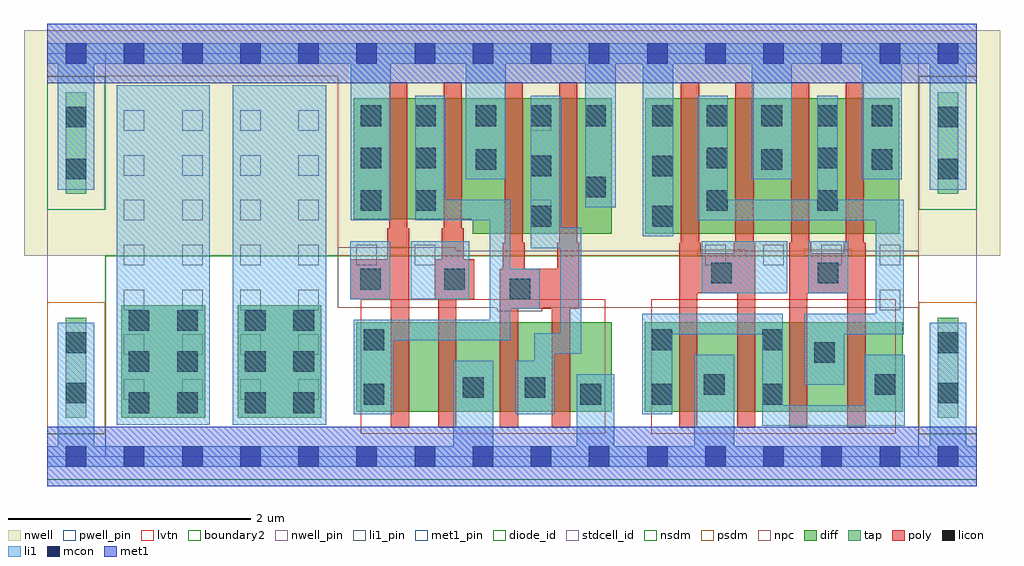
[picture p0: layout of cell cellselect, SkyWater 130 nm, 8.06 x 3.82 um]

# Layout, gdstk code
import gdstk
lib = gdstk.Library(unit=1e-6, precision=1e-09)
def R(c, l, rs):  # rectangles x0, y0, x1, y1
    for r in rs: c.add(gdstk.rectangle(r[:2], r[2:], *l))
def A(c, l, x, y, w, h, nx, ny, dx, dy):  # array of equal rectangles
    R(c, l, [(x+i*dx, y+j*dy, x+i*dx+w, y+j*dy+h) for i in range(nx) for j in range(ny)])
def P(c, l, *ps):  # polygons
    for p in ps: c.add(gdstk.Polygon(p, *l))
nwell_pin = (64, 16)
nwell = (64, 20)
diff = (65, 20)
tap = (65, 44)
poly = (66, 20)
licon = (66, 44)
li1_pin = (67, 16)
li1 = (67, 20)
mcon = (67, 44)
met1_pin = (68, 16)
met1 = (68, 20)
stdcell_id = (81, 4)
diode_id = (81, 23)
nsdm = (93, 44)
psdm = (94, 20)
npc = (95, 20)
pwell_pin = (122, 16)
lvtn = (125, 44)
boundary2 = (236, 0)

sky130_fd_sc_hs__tapvpwr = lib.new_cell('sky130_fd_sc_hs__tapvpwrvgnd_1')
R(sky130_fd_sc_hs__tapvpwr, nwell, [(-0.19,1.66,0.67,3.52)])
R(sky130_fd_sc_hs__tapvpwr, tap, [(0.155,0.32,0.325,1.145), (0.155,2.17,0.325,3.01)])
R(sky130_fd_sc_hs__tapvpwr, licon, [(0.155,0.44,0.325,0.61), (0.155,0.855,0.325,1.025), (0.155,2.29,0.325,2.46), (0.155,2.72,0.325,2.89)])
P(sky130_fd_sc_hs__tapvpwr, li1, [(0,-0.085),(0,0.085),(0.09,0.085),(0.09,1.105),(0.39,1.105),(0.39,0.085),(0.48,0.085),(0.48,-0.085)],
  [(0.09,2.205),(0.09,3.245),(0,3.245),(0,3.415),(0.48,3.415),(0.48,3.245),(0.39,3.245),(0.39,2.205)])
R(sky130_fd_sc_hs__tapvpwr, mcon, [(0.155,-0.085,0.325,0.085), (0.155,3.245,0.325,3.415)])
R(sky130_fd_sc_hs__tapvpwr, met1_pin, [(0,0,0.48,0.245), (0,3.085,0.48,3.33)])
R(sky130_fd_sc_hs__tapvpwr, met1, [(0,-0.245,0.48,0.245), (0,3.085,0.48,3.575)])
R(sky130_fd_sc_hs__tapvpwr, stdcell_id, [(0,0,0.48,3.33)])
R(sky130_fd_sc_hs__tapvpwr, nsdm, [(0,-0.19,0.48,0.19), (0,2.04,0.48,3.14)])
R(sky130_fd_sc_hs__tapvpwr, psdm, [(0,0.19,0.48,1.275), (0,3.14,0.48,3.52)])
R(sky130_fd_sc_hs__tapvpwr, boundary2, [(0,0,0.48,3.33)])
sky130_fd_sc_hs__tapvpwr.add(gdstk.Label('tapvpwrvgnd_1', (0,0), layer=83, texttype=44))
sky130_fd_sc_hs__tapvpwr.add(gdstk.Label('VPWR', (0.24,3.208), layer=68, texttype=5))
sky130_fd_sc_hs__tapvpwr.add(gdstk.Label('VGND', (0.24,0.123), layer=68, texttype=5))

sky130_fd_sc_hs__nand2_2 = lib.new_cell('sky130_fd_sc_hs__nand2_2')
R(sky130_fd_sc_hs__nand2_2, nwell_pin, [(0,3.085,2.4,3.33)])
R(sky130_fd_sc_hs__nand2_2, nwell, [(-0.19,1.66,2.59,3.52)])
R(sky130_fd_sc_hs__nand2_2, diff, [(0.135,0.37,2.265,1.11), (0.14,1.84,2.24,2.96)])
P(sky130_fd_sc_hs__nand2_2, poly, [(1.33,0.24),(1.33,1.765),(1.345,1.765),(1.345,3.09),(1.495,3.09),(1.495,1.765),(1.51,1.765),(1.51,1.68),(1.78,1.68),(1.78,1.765),(1.795,1.765),(1.795,3.09),(1.945,3.09),(1.945,1.765),(1.96,1.765),(1.96,0.24),(1.81,0.24),(1.81,1.35),(1.48,1.35),(1.48,0.24)],
  [(0.42,0.24),(0.42,1.765),(0.435,1.765),(0.435,3.09),(0.585,3.09),(0.585,1.765),(0.6,1.765),(0.6,1.68),(0.87,1.68),(0.87,1.765),(0.885,1.765),(0.885,3.09),(1.035,3.09),(1.035,1.765),(1.05,1.765),(1.05,0.24),(0.9,0.24),(0.9,1.35),(0.57,1.35),(0.57,0.24)])
A(sky130_fd_sc_hs__nand2_2, licon, 1.56, 2.03, 0.17, 0.17, 1, 3, 0, 0.35)
A(sky130_fd_sc_hs__nand2_2, licon, 0.2, 2.73, 0.17, 0.17, 3, 1, 0.45, 0)
R(sky130_fd_sc_hs__nand2_2, licon, [(0.195,0.43,0.365,0.6), (1.105,0.43,1.275,0.6), (0.625,0.51,0.795,0.68), (2.035,0.51,2.205,0.68), (1.535,0.775,1.705,0.945), (0.195,0.88,0.365,1.05), (1.105,0.88,1.275,1.05), (0.685,1.43,0.855,1.6), (1.565,1.43,1.735,1.6), (0.2,1.9,0.37,2.07), (0.65,2.03,0.82,2.2), (0.2,2.315,0.37,2.485), (1.1,2.37,1.27,2.54), (2.01,2.37,2.18,2.54), (0.65,2.38,0.82,2.55), (2.01,2.73,2.18,2.9)])
A(sky130_fd_sc_hs__nand2_2, li1_pin, 0.635, 1.58, 0.17, 0.17, 4, 1, 0.48, 0)
R(sky130_fd_sc_hs__nand2_2, li1_pin, [(2.075,1.21,2.245,1.38)])
R(sky130_fd_sc_hs__nand2_2, li1, [(0.605,1.35,1.315,1.78), (1.485,1.35,1.815,1.78)])
P(sky130_fd_sc_hs__nand2_2, li1, [(0,-0.085),(0,0.085),(0.545,0.085),(0.545,0.84),(0.875,0.84),(0.875,0.085),(2.4,0.085),(2.4,-0.085)],
  [(0.12,1.82),(0.12,3.245),(0,3.245),(0,3.415),(2.4,3.415),(2.4,3.245),(2.26,3.245),(2.26,2.29),(1.93,2.29),(1.93,3.245),(1.35,3.245),(1.35,2.29),(1.02,2.29),(1.02,3.245),(0.37,3.245),(0.37,1.82)],
  [(1.455,0.595),(1.455,1.18),(2.045,1.18),(2.045,1.95),(0.57,1.95),(0.57,2.98),(0.82,2.98),(0.82,2.12),(1.56,2.12),(1.56,2.98),(1.73,2.98),(1.73,2.12),(2.275,2.12),(2.275,1.01),(1.785,1.01),(1.785,0.595)],
  [(1.105,0.255),(1.105,1.01),(0.365,1.01),(0.365,0.35),(0.115,0.35),(0.115,1.18),(1.275,1.18),(1.275,0.425),(1.955,0.425),(1.955,0.84),(2.285,0.84),(2.285,0.255)])
A(sky130_fd_sc_hs__nand2_2, mcon, 0.155, -0.085, 0.17, 0.17, 5, 2, 0.48, 3.33)
R(sky130_fd_sc_hs__nand2_2, met1_pin, [(0,0,2.4,0.245), (0,3.085,2.4,3.33)])
R(sky130_fd_sc_hs__nand2_2, met1, [(0,-0.245,2.4,0.245), (0,3.085,2.4,3.575)])
R(sky130_fd_sc_hs__nand2_2, stdcell_id, [(0,0,2.4,3.33)])
R(sky130_fd_sc_hs__nand2_2, nsdm, [(0,-0.19,2.4,1.66)])
P(sky130_fd_sc_hs__nand2_2, psdm, [(0,1.66),(0,3.52),(2.4,3.52),(2.4,1.66),(1.845,1.66),(1.845,1.71),(1.455,1.71),(1.455,1.66),(0.965,1.66),(0.965,1.71),(0.575,1.71),(0.575,1.66)])
R(sky130_fd_sc_hs__nand2_2, npc, [(0,1.23,2.4,1.7)])
R(sky130_fd_sc_hs__nand2_2, pwell_pin, [(0,0,2.4,0.245)])
R(sky130_fd_sc_hs__nand2_2, lvtn, [(0.19,0.19,2.21,1.3)])
R(sky130_fd_sc_hs__nand2_2, boundary2, [(0,0,2.4,3.33)])
sky130_fd_sc_hs__nand2_2.add(gdstk.Label('nand2_2', (0,0), layer=83, texttype=44))
sky130_fd_sc_hs__nand2_2.add(gdstk.Label('VPWR', (1.2,3.208), layer=68, texttype=5))
sky130_fd_sc_hs__nand2_2.add(gdstk.Label('VGND', (1.2,0.123), layer=68, texttype=5))
sky130_fd_sc_hs__nand2_2.add(gdstk.Label('VNB', (1.2,0.123), layer=64, texttype=59))
sky130_fd_sc_hs__nand2_2.add(gdstk.Label('VPB', (1.2,3.208), layer=64, texttype=5))
sky130_fd_sc_hs__nand2_2.add(gdstk.Label('Y', (2.16,1.295), layer=67, texttype=5))
sky130_fd_sc_hs__nand2_2.add(gdstk.Label('Y', (2.16,1.665), layer=67, texttype=5))
sky130_fd_sc_hs__nand2_2.add(gdstk.Label('B', (0.72,1.665), layer=67, texttype=5))
sky130_fd_sc_hs__nand2_2.add(gdstk.Label('B', (1.2,1.665), layer=67, texttype=5))
sky130_fd_sc_hs__nand2_2.add(gdstk.Label('A', (1.68,1.665), layer=67, texttype=5))

sky130_fd_sc_hs__and2_2 = lib.new_cell('sky130_fd_sc_hs__and2_2')
R(sky130_fd_sc_hs__and2_2, nwell_pin, [(0,3.085,2.4,3.33)])
R(sky130_fd_sc_hs__and2_2, nwell, [(-0.19,1.66,2.59,3.52)])
R(sky130_fd_sc_hs__and2_2, diff, [(0.155,0.37,2.265,1.11)])
P(sky130_fd_sc_hs__and2_2, diff, [(1.115,1.84),(1.115,1.96),(0.135,1.96),(0.135,2.96),(2.265,2.96),(2.265,1.84)])
P(sky130_fd_sc_hs__and2_2, poly, [(1.34,0.24),(1.34,1.55),(1.365,1.55),(1.365,1.765),(1.38,1.765),(1.38,3.09),(1.53,3.09),(1.53,1.765),(1.545,1.765),(1.545,1.55),(1.815,1.55),(1.815,1.765),(1.83,1.765),(1.83,3.09),(1.98,3.09),(1.98,1.765),(1.995,1.765),(1.995,1.22),(1.92,1.22),(1.92,0.24),(1.77,0.24),(1.77,1.22),(1.49,1.22),(1.49,0.24)],
  [(0.83,0.24),(0.83,1.3),(0.8,1.3),(0.8,1.63),(0.86,1.63),(0.86,1.885),(0.875,1.885),(0.875,3.09),(1.025,3.09),(1.025,1.885),(1.04,1.885),(1.04,1.63),(1.13,1.63),(1.13,1.3),(0.98,1.3),(0.98,0.24)],
  [(0.44,0.24),(0.44,1.3),(0.105,1.3),(0.105,1.63),(0.41,1.63),(0.41,1.885),(0.425,1.885),(0.425,3.09),(0.575,3.09),(0.575,1.885),(0.59,1.885),(0.59,0.24)])
A(sky130_fd_sc_hs__and2_2, licon, 1.595, 1.9, 0.17, 0.17, 1, 3, 0, 0.415)
A(sky130_fd_sc_hs__and2_2, licon, 0.19, 2.03, 0.17, 0.17, 1, 3, 0, 0.35)
A(sky130_fd_sc_hs__and2_2, licon, 0.64, 2.03, 0.17, 0.17, 1, 3, 0, 0.35)
R(sky130_fd_sc_hs__and2_2, licon, [(0.215,0.43,0.385,0.6), (2.005,0.43,2.175,0.6), (1.035,0.485,1.205,0.655), (1.545,0.485,1.715,0.655), (0.215,0.88,0.385,1.05), (1.42,1.3,1.59,1.47), (0.185,1.38,0.355,1.55), (0.88,1.38,1.05,1.55), (2.045,2.14,2.215,2.31), (1.14,2.37,1.31,2.54), (1.14,2.73,1.31,2.9), (2.045,2.73,2.215,2.9)])
A(sky130_fd_sc_hs__and2_2, li1_pin, 1.595, 1.95, 0.17, 0.17, 1, 3, 0, 0.37)
R(sky130_fd_sc_hs__and2_2, li1_pin, [(0.155,1.58,0.325,1.75), (0.635,1.58,0.805,1.75)])
R(sky130_fd_sc_hs__and2_2, li1, [(0.105,1.3,0.435,1.78), (0.605,1.3,1.085,1.78)])
P(sky130_fd_sc_hs__and2_2, li1, [(0,-0.085),(0,0.085),(0.955,0.085),(0.955,0.79),(1.285,0.79),(1.285,0.085),(1.975,0.085),(1.975,0.68),(2.285,0.68),(2.285,0.085),(2.4,0.085),(2.4,-0.085)],
  [(0.11,1.95),(0.11,3.245),(0,3.245),(0,3.415),(2.4,3.415),(2.4,3.245),(2.295,3.245),(2.295,2.06),(2.045,2.06),(2.045,3.245),(1.39,3.245),(1.39,2.29),(1.06,2.29),(1.06,3.245),(0.44,3.245),(0.44,1.95)],
  [(1.465,0.35),(1.465,0.79),(1.625,0.79),(1.625,1.02),(1.84,1.02),(1.84,1.72),(1.595,1.72),(1.595,2.98),(1.845,2.98),(1.845,1.89),(2.01,1.89),(2.01,0.85),(1.795,0.85),(1.795,0.35)],
  [(0.135,0.35),(0.135,1.13),(1.255,1.13),(1.255,1.95),(0.64,1.95),(0.64,2.98),(0.89,2.98),(0.89,2.12),(1.425,2.12),(1.425,1.55),(1.67,1.55),(1.67,1.22),(1.425,1.22),(1.425,0.96),(0.465,0.96),(0.465,0.35)])
A(sky130_fd_sc_hs__and2_2, mcon, 0.155, -0.085, 0.17, 0.17, 5, 2, 0.48, 3.33)
R(sky130_fd_sc_hs__and2_2, met1_pin, [(0,0,2.4,0.245), (0,3.085,2.4,3.33)])
R(sky130_fd_sc_hs__and2_2, met1, [(0,-0.245,2.4,0.245), (0,3.085,2.4,3.575)])
R(sky130_fd_sc_hs__and2_2, stdcell_id, [(0,0,2.4,3.33)])
R(sky130_fd_sc_hs__and2_2, nsdm, [(0,-0.19,2.4,1.66)])
R(sky130_fd_sc_hs__and2_2, psdm, [(0,1.66,2.4,3.52)])
P(sky130_fd_sc_hs__and2_2, npc, [(1.32,1.2),(1.32,1.23),(0,1.23),(0,1.73),(0.975,1.73),(0.975,1.7),(2.4,1.7),(2.4,1.23),(1.69,1.23),(1.69,1.2)])
R(sky130_fd_sc_hs__and2_2, pwell_pin, [(0,0,2.4,0.245)])
R(sky130_fd_sc_hs__and2_2, lvtn, [(0.19,0.19,2.21,1.3)])
R(sky130_fd_sc_hs__and2_2, boundary2, [(0,0,2.4,3.33)])
sky130_fd_sc_hs__and2_2.add(gdstk.Label('and2_2', (0,0), layer=83, texttype=44))
sky130_fd_sc_hs__and2_2.add(gdstk.Label('VPWR', (1.2,3.208), layer=68, texttype=5))
sky130_fd_sc_hs__and2_2.add(gdstk.Label('VGND', (1.2,0.123), layer=68, texttype=5))
sky130_fd_sc_hs__and2_2.add(gdstk.Label('VNB', (1.2,0.123), layer=64, texttype=59))
sky130_fd_sc_hs__and2_2.add(gdstk.Label('VPB', (1.2,3.208), layer=64, texttype=5))
sky130_fd_sc_hs__and2_2.add(gdstk.Label('A', (0.24,1.665), layer=67, texttype=5))
sky130_fd_sc_hs__and2_2.add(gdstk.Label('B', (0.72,1.665), layer=67, texttype=5))
sky130_fd_sc_hs__and2_2.add(gdstk.Label('X', (1.68,2.035), layer=67, texttype=5))
sky130_fd_sc_hs__and2_2.add(gdstk.Label('X', (1.68,2.405), layer=67, texttype=5))
sky130_fd_sc_hs__and2_2.add(gdstk.Label('X', (1.68,2.775), layer=67, texttype=5))

sky130_fd_sc_hs__diode_2 = lib.new_cell('sky130_fd_sc_hs__diode_2')
R(sky130_fd_sc_hs__diode_2, nwell_pin, [(0,3.085,0.96,3.33)])
R(sky130_fd_sc_hs__diode_2, nwell, [(-0.19,1.66,1.15,3.52)])
R(sky130_fd_sc_hs__diode_2, diff, [(0.135,0.32,0.825,1.25)])
A(sky130_fd_sc_hs__diode_2, licon, 0.195, 0.36, 0.17, 0.17, 1, 3, 0, 0.34)
A(sky130_fd_sc_hs__diode_2, licon, 0.595, 0.36, 0.17, 0.17, 1, 3, 0, 0.34)
A(sky130_fd_sc_hs__diode_2, li1_pin, 0.155, 0.47, 0.17, 0.17, 1, 7, 0, 0.37)
A(sky130_fd_sc_hs__diode_2, li1_pin, 0.635, 0.47, 0.17, 0.17, 1, 7, 0, 0.37)
R(sky130_fd_sc_hs__diode_2, li1, [(0,-0.085,0.96,0.085), (0.095,0.265,0.865,3.065), (0,3.245,0.96,3.415)])
R(sky130_fd_sc_hs__diode_2, mcon, [(0.155,-0.085,0.325,0.085), (0.635,-0.085,0.805,0.085), (0.155,3.245,0.325,3.415), (0.635,3.245,0.805,3.415)])
R(sky130_fd_sc_hs__diode_2, met1_pin, [(0,0,0.96,0.245), (0,3.085,0.96,3.33)])
R(sky130_fd_sc_hs__diode_2, met1, [(0,-0.245,0.96,0.245), (0,3.085,0.96,3.575)])
R(sky130_fd_sc_hs__diode_2, stdcell_id, [(0,0,0.96,3.33)])
R(sky130_fd_sc_hs__diode_2, diode_id, [(0.135,0.32,0.825,1.25)])
R(sky130_fd_sc_hs__diode_2, nsdm, [(0,-0.19,0.96,1.66)])
R(sky130_fd_sc_hs__diode_2, psdm, [(0,3.14,0.96,3.52)])
R(sky130_fd_sc_hs__diode_2, pwell_pin, [(0,0,0.96,0.245)])
R(sky130_fd_sc_hs__diode_2, boundary2, [(0,0,0.96,3.33)])
sky130_fd_sc_hs__diode_2.add(gdstk.Label('diode_2', (0,0), layer=83, texttype=44))
sky130_fd_sc_hs__diode_2.add(gdstk.Label('VPWR', (0.48,3.208), layer=68, texttype=5))
sky130_fd_sc_hs__diode_2.add(gdstk.Label('VGND', (0.48,0.123), layer=68, texttype=5))
sky130_fd_sc_hs__diode_2.add(gdstk.Label('VNB', (0.48,0.123), layer=64, texttype=59))
sky130_fd_sc_hs__diode_2.add(gdstk.Label('VPB', (0.48,3.208), layer=64, texttype=5))
sky130_fd_sc_hs__diode_2.add(gdstk.Label('DIODE', (0.24,2.405), layer=67, texttype=5))
sky130_fd_sc_hs__diode_2.add(gdstk.Label('DIODE', (0.72,0.925), layer=67, texttype=5))
sky130_fd_sc_hs__diode_2.add(gdstk.Label('DIODE', (0.72,2.405), layer=67, texttype=5))
sky130_fd_sc_hs__diode_2.add(gdstk.Label('DIODE', (0.24,0.555), layer=67, texttype=5))
sky130_fd_sc_hs__diode_2.add(gdstk.Label('DIODE', (0.72,1.295), layer=67, texttype=5))
sky130_fd_sc_hs__diode_2.add(gdstk.Label('DIODE', (0.24,1.665), layer=67, texttype=5))
sky130_fd_sc_hs__diode_2.add(gdstk.Label('DIODE', (0.24,1.295), layer=67, texttype=5))
sky130_fd_sc_hs__diode_2.add(gdstk.Label('DIODE', (0.24,0.925), layer=67, texttype=5))
sky130_fd_sc_hs__diode_2.add(gdstk.Label('DIODE', (0.72,0.555), layer=67, texttype=5))
sky130_fd_sc_hs__diode_2.add(gdstk.Label('DIODE', (0.24,2.775), layer=67, texttype=5))
sky130_fd_sc_hs__diode_2.add(gdstk.Label('DIODE', (0.24,2.035), layer=67, texttype=5))
sky130_fd_sc_hs__diode_2.add(gdstk.Label('DIODE', (0.72,1.665), layer=67, texttype=5))
sky130_fd_sc_hs__diode_2.add(gdstk.Label('DIODE', (0.72,2.775), layer=67, texttype=5))
sky130_fd_sc_hs__diode_2.add(gdstk.Label('DIODE', (0.72,2.035), layer=67, texttype=5))

cellselect = lib.new_cell('cellselect')
R(cellselect, nsdm, [(2.1,-0.045,2.12,1.135), (3.06,0.005,3.1,0.995), (5.46,0.005,5.48,0.995)])
R(cellselect, psdm, [(5.46,1.475,5.485,2.845)])
cellselect.add(gdstk.Reference(sky130_fd_sc_hs__tapvpwr, (7.87,-0.24)))
cellselect.add(gdstk.Reference(sky130_fd_sc_hs__tapvpwr, (0.67,-0.24)))
cellselect.add(gdstk.Reference(sky130_fd_sc_hs__nand2_2, (5.47,-0.24)))
cellselect.add(gdstk.Reference(sky130_fd_sc_hs__and2_2, (3.07,-0.24)))
cellselect.add(gdstk.Reference(sky130_fd_sc_hs__diode_2, (1.15,-0.24)))
cellselect.add(gdstk.Reference(sky130_fd_sc_hs__diode_2, (2.11,-0.24)))

lib.write_gds('cellselect.gds')
